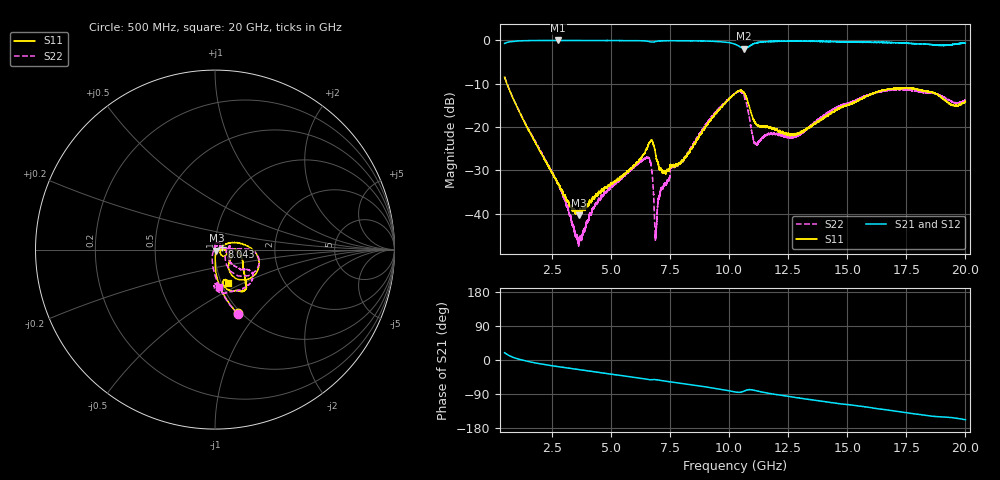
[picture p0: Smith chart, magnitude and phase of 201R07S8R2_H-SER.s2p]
!{201R07S8R2}
!Johanson Technology Inc.
!www.johansontechnology.com
!Test Board Conditions:
!Substrate Type  RO4350B
!Substrate Thickness  10 mil
!Substrate Dk  3.66
!TL Type: GCPW
!TL Trace Width  21 mil
!TL Gap  20 mil
!Electrode orientation  Horizontal
!DUT TOPOLOGY	SERIES
!Mounting Pad LxW  16x21 mil
!Agilent Technologies,N5230A,MY45001966,A.07.50.67
!Agilent N5230A: A.07.50.67
! Created Mon Mar  9 15:19:22 2020
# mhz S ma R 50
! 2 Port Network Data from SP1.SP block
! freq  magS11  angS11  magS21  angS21  magS12  angS12  magS22  angS22
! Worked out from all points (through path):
!   19501 points, 500 MHz to 20 GHz, reference 50 ohm
!   highest |S21| = -0.02 dB at 2.771 GHz (marker M1); lowest = -1.9 dB at 10.64 GHz (marker M2)
!   group delay of S21, straight-line fit = 22.9 ps
!   lowest |S11| = -40.4 dB at 3.644 GHz (marker M3), VSWR 1.02, Z = 50.8 - j0.515 ohm
!   |S11| at or under -10 dB: 600.5 MHz to end of sweep
!   |S22| runs from -47.5 to -8.4 dB; largest |S21 - S12| = 0.016
!   S11 on the Smith chart (normalised r, x): 500 MHz: 0.96, -0.80; 8.043 GHz: 1.08, +0.04; 20 GHz: 1.07, -0.41
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500  0.3775 -70.5  0.9239 19.2  0.9237 19.2  0.3785 -70.5
1349  0.1128 -88.4  0.9924 -1.7  0.9912 -1.7  0.1147 -93.7
2771  0.02182 -80.3  0.9983 -17.7  0.9969 -17.6  0.02182 -124.0
3644  0.009586 -31.9  0.9971 -25.5  0.9969 -25.5  0.004896 163.1
3750  0.01046 -23.0  0.9964 -26.5  0.9974 -26.5  0.005074 142.8
4540  0.01732 -3.2  0.9966 -33.4  0.9963 -33.4  0.01453 100.0
6471  0.05415 -0.7  0.9842 -50.5  0.9842 -50.5  0.04414 62.6
6684  0.06951 -16.7  0.9603 -52.1  0.9603 -52.0  0.03819 28.1
6883  0.05054 -40.3  0.9702 -51.8  0.9684 -51.8  0.005319 50.7
7000  0.0379 -35.2  0.9824 -52.8  0.9815 -52.8  0.01435 94.8
7253  0.03085 -11.0  0.9896 -55.4  0.9889 -55.4  0.02138 74.1
7598  0.03526 20.9  0.9899 -58.5  0.9908 -58.5  0.03517 35.8
8043  0.04066 24.2  0.9911 -62.4  0.9904 -62.3  0.04069 20.2
9202  0.118 19.1  0.9798 -72.9  0.9772 -72.8  0.1242 2.1
10250  0.245 -10.9  0.9034 -84.2  0.9031 -84.2  0.2456 -10.0
10639  0.2477 -42.0  0.8031 -82.1  0.8071 -82.1  0.227 -40.1
11133  0.1098 -44.6  0.9301 -81.0  0.931 -80.8  0.06424 -18.5
11716  0.09984 -26.1  0.9697 -88.3  0.9723 -88.2  0.08357 12.9
12644  0.08208 -9.8  0.9802 -97.4  0.9816 -97.4  0.0769 -11.1
13500  0.1038 2.8  0.9816 -105.3  0.9779 -105.3  0.1066 -38.9
16750  0.2732 -50.1  0.9474 -132.2  0.9358 -132.4  0.2679 -38.9
20000  0.1975 -68.8  0.9314 -157.7  0.9334 -157.5  0.2081 -83.1
